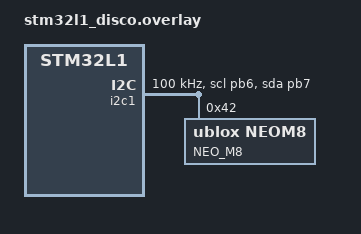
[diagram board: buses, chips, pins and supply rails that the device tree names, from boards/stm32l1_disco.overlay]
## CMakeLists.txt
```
# SPDX-License-Identifier: Apache-2.0

cmake_minimum_required(VERSION 3.13.1)
find_package(Zephyr REQUIRED HINTS $ENV{ZEPHYR_BASE})
project(ublox_m8n)

FILE(GLOB app_sources src/*.c)
target_sources(app PRIVATE ${app_sources})
```

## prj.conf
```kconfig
CONFIG_STDOUT_CONSOLE=y
CONFIG_PRINTK=y

CONFIG_I2C=y
CONFIG_SENSOR=y
```

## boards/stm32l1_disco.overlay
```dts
&i2c1 {
    clock-frequency = <I2C_BITRATE_STANDARD>; 
	status = "okay";
	pinctrl-0 = <&i2c1_scl_pb6 &i2c1_sda_pb7>;
 
	neoGGPS: neo-m8@42 {
		status = "okay";
		compatible = "ublox,neom8";
		label = "NEO_M8";
		reg = <0x42>;
	};
};
```

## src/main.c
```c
#include <errno.h>
#include <zephyr.h>
#include <device.h>
#include <drivers/i2c.h>
#include <string.h>
#include <stdlib.h>
#include <math.h>

#define I2C_M8N_ADDR 0x42
#define I2C_M8N_REG_ADDR 0x00
#define SUCCESS 0

const struct device * i2c_dev;

static int m8n_i2c_read_reg(const struct device *dev, uint8_t reg_addr,
                uint8_t *value)
{
    // struct m8n_data *data = dev->data;
    // const struct m8n_config *cfg = dev->config;

	int data = 0xFF;

    return i2c_reg_read_byte(i2c_dev,I2C_M8N_ADDR,I2C_M8N_REG_ADDR , data);
	// 	return i2c_transfer(i2c_dev, &msgs[0], 1, I2C_M8N_ADDR);
}

static int m8n_i2c_write_reg(const struct device *dev, uint8_t reg_addr,
                uint8_t value)
{
    // struct m8n_data *data = dev->data;
    // const struct m8n_config *cfg = dev->config;
	int data = 0xFF;

    return i2c_reg_write_byte(i2c_dev,I2C_M8N_ADDR,I2C_M8N_REG_ADDR , data);
}

//static uint16_t ubloxGetStreamBacklog( void )
//{
    // uint8_t rawdata[2] = { 0 };
    // if ( I2cReadBuffer( i2c_dev, I2C_M8N_ADDR  << 1, 0xFD, (uint8_t*) &data, 2 ) != SUCCESS ) return 0;

    // return rawdata[0] << 8 | ( rawdata[1] & 0xff );
//}

//uint8_t ubloxRunParser()
//{
    // uint8_t data[25] = { 0 };

    // uint16_t dataAvailable = ubloxGetStreamBacklog();
    // if ( dataAvailable > sizeof ( data ) )
    // {
    //     dataAvailable = sizeof ( data );
    // }

    // if ( dataAvailable && I2cReadBuffer( i2c_dev, I2C_M8N_ADDR << 1, 0xFF, data, dataAvailable ) == SUCCESS )
    // {
    //     for ( uint8_t i = 0; i < dataAvailable; i++ )
    //     {
    //         if ( IsFifoFull( &UbloxFifo ) )
    //         {
    //             abelDebugMessage( llerror, "[tracker] U-blox FIFO buffer is full!" );
    //             break;
    //         }
    //         FifoPush( &UbloxFifo, data[i] );

    //     }
    // }

    // while ( !IsFifoEmpty( &UbloxFifo ) )
    // {
    //     uint8_t retVal = ubloxInput( ublox, FifoPop( &UbloxFifo ) );
    //     if ( retVal > 0 ) return retVal;
    // }

    // return 0;
//}



void main(void)
{
	uint8_t data[16];
	int ret;

	i2c_dev = device_get_binding("I2C_1");
	if (!i2c_dev) {
		printk("I2C: Device driver not found.\n");
	} 
	else {
		i2c_configure(i2c_dev, I2C_SPEED_SET(I2C_SPEED_FAST));
		printk("Device binding succesful.\n");
    }

        /* Do one-byte read/write */
        data[0] = 0xFF;
        ret = m8n_i2c_write_reg(i2c_dev, 0x00, &data[0]);
        if (ret) {
            printk("Error writing to specified register: error code (%d)\n", ret);

        } else {
            printk("Wrote 0xFF to address 0x00 (%d).\n", ret);
        }

        data[0] = 0x00;
        ret = m8n_i2c_read_reg(i2c_dev, 0x00, &data[0]);
        if (ret) {
            printk("Error reading from specified register: error code (%d)\n", ret);

        } else {
            printk("Read 0x%X from address 0x00.\n", data[0]);
        }
}

// static int write_bytes(const struct device *i2c_dev, uint16_t addr, 
// 		       uint8_t *data, uint32_t num_bytes)
// {
// 	//uint8_t wr_addr[2];
// 	struct i2c_msg msgs[1];
// 	uint8_t dst;

// 	/* FRAM address */
// 	// wr_addr[0] = (addr >> 8) & 0xFF;
// 	// wr_addr[1] = addr & 0xFF;

// 	/* Setup I2C messages */

// 	/* Send the address to write to */
// 	msgs[0].buf = &dst;
// 	msgs[0].len = 0;
// 	//msgs[0].flags = I2C_MSG_WRITE;

// 	/* Data to be written, and STOP after this. */
// 	//msgs[1].buf = data;
// 	//msgs[1].len = num_bytes;
// 	msgs[1].flags = I2C_MSG_WRITE | I2C_MSG_STOP;

// 	return i2c_transfer(i2c_dev, &msgs[0], 1, I2C_M8N_ADDR);
// }

// static int read_bytes(const struct device *i2c_dev, uint16_t addr,
// 		      uint8_t *data, uint32_t num_bytes)
// {
// 	uint8_t wr_addr[2];
// 	struct i2c_msg msgs[2];

// 	/* Now try to read back from FRAM */

// 	/* FRAM address */
// 	wr_addr[0] = (addr >> 8) & 0xFF;
// 	wr_addr[1] = addr & 0xFF;

// 	/* Setup I2C messages */

// 	/* Send the address to read from */
// 	msgs[0].buf = wr_addr;
// 	msgs[0].len = 2U;
// 	msgs[0].flags = I2C_MSG_WRITE;

// 	/* Read from device. STOP after this. */
// 	msgs[1].buf = data;
// 	msgs[1].len = num_bytes;
// 	msgs[1].flags = I2C_MSG_READ | I2C_MSG_STOP;

// 	return i2c_transfer(i2c_dev, &msgs[0], 2, I2C_M8N_ADDR);
// }
```
